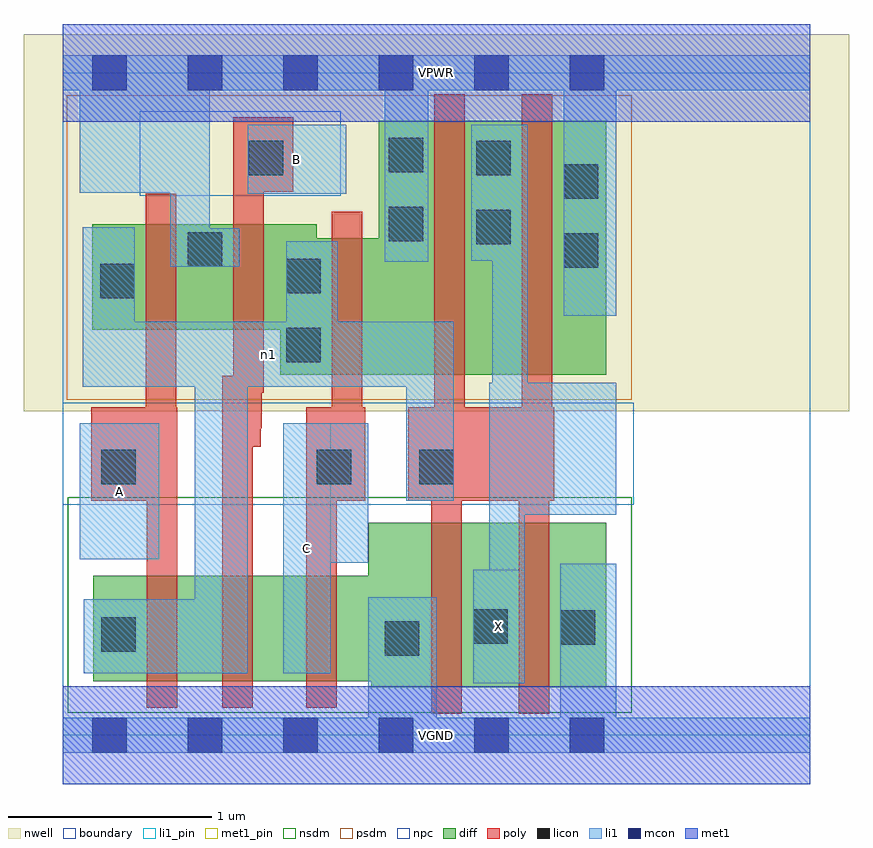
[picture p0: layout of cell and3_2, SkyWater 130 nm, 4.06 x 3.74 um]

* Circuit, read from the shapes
.subckt and3_2 A B C VGND VPWR X n1
XM1 n2 A n1 VSUBS sky130_fd_pr__nfet_01v8 w=0.52 l=0.15
XM2 n3 B n2 VSUBS sky130_fd_pr__nfet_01v8 w=0.52 l=0.15
XM3 VGND C n3 VSUBS sky130_fd_pr__nfet_01v8 w=0.52 l=0.15
XM4 X n1 VGND VSUBS sky130_fd_pr__nfet_01v8 w=0.81 l=0.15 m=2
XM5 VPWR A n1 n4 sky130_fd_pr__pfet_01v8 w=0.52 l=0.15
XM6 n1 B VPWR n4 sky130_fd_pr__pfet_01v8 w=0.52 l=0.15
XM7 VPWR C n1 n4 sky130_fd_pr__pfet_01v8 w=0.67 l=0.15
XM8 X n1 VPWR n4 sky130_fd_pr__pfet_01v8 w=1.25 l=0.15 m=2
.ends

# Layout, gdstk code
import gdstk
lib = gdstk.Library(unit=1e-6, precision=1e-09)
def R(c, l, rs):  # rectangles x0, y0, x1, y1
    for r in rs: c.add(gdstk.rectangle(r[:2], r[2:], *l))
def A(c, l, x, y, w, h, nx, ny, dx, dy):  # array of equal rectangles
    R(c, l, [(x+i*dx, y+j*dy, x+i*dx+w, y+j*dy+h) for i in range(nx) for j in range(ny)])
nwell = (64, 20)
diff = (65, 20)
poly = (66, 20)
licon = (66, 44)
li1_pin = (67, 16)
li1 = (67, 20)
mcon = (67, 44)
met1_pin = (68, 16)
met1 = (68, 20)
nsdm = (93, 44)
psdm = (94, 20)
npc = (95, 20)
boundary = (235, 4)

and3_2 = lib.new_cell('and3_2')
R(and3_2, nwell, [(-0.19,1.595,3.87,3.45), (0,1.595,3.68,3.45)])
R(and3_2, diff, [(1.52,0.235,2.675,1.045), (0.15,0.265,2.675,0.785), (1.505,0.265,2.675,1.045), (1.07,1.775,2.675,2.445), (1.555,1.775,2.675,3.025), (0.145,1.995,1.25,2.515)])
R(and3_2, poly, [(1.815,0.105,1.965,1.615), (2.245,0.105,2.395,1.615), (0.415,0.135,0.565,1.615), (0.785,0.135,0.935,1.77), (1.2,0.135,1.35,1.615), (0.14,1.155,0.565,1.615), (0.41,1.155,0.56,2.665), (1.2,1.155,1.49,1.615), (1.35,1.155,1.475,2.575), (1.7,1.155,2.42,1.615), (1.83,1.155,1.98,3.155), (2.26,1.155,2.41,3.155), (0.785,1.42,0.975,1.77), (0.84,1.51,0.98,3.04), (1.325,1.615,1.475,2.575), (0.84,1.685,0.99,3.04), (0.84,2.675,1.135,3.04)])
R(and3_2, licon, [(1.585,0.39,1.755,0.56), (0.19,0.41,0.36,0.58), (2.45,0.445,2.62,0.615), (2.02,0.45,2.19,0.62), (0.19,1.235,0.36,1.405), (1.25,1.235,1.42,1.405), (1.755,1.235,1.925,1.405), (1.1,1.835,1.27,2.005), (0.185,2.15,0.355,2.32), (1.1,2.175,1.27,2.345), (2.465,2.3,2.635,2.47), (0.615,2.305,0.785,2.475), (2.035,2.415,2.205,2.585), (1.605,2.43,1.775,2.6), (2.465,2.64,2.635,2.81), (0.915,2.755,1.085,2.925), (2.035,2.755,2.205,2.925), (1.605,2.77,1.775,2.94)])
R(and3_2, li1_pin, [(2.02,0.255,2.275,0.815), (1.085,0.305,1.32,1.535), (0.085,0.865,0.475,1.535), (0.91,2.665,1.395,3.005)])
R(and3_2, li1, [(0,-0.085,3.68,0.085), (1.505,-0.085,1.84,0.68), (2.45,-0.085,2.725,0.845), (2.02,0.255,2.275,0.815), (2.1,0.255,2.275,1.735), (0.105,0.305,0.91,0.67), (0.65,0.305,0.91,2.035), (1.085,0.305,1.32,1.535), (1.085,0.85,1.505,1.535), (0.085,0.865,0.475,1.535), (2.1,1.085,2.725,1.735), (2.115,1.085,2.29,3.005), (1.69,1.155,1.925,2.035), (0.1,1.715,1.925,2.035), (0.1,1.715,0.355,2.5), (1.1,1.715,1.355,2.43), (2.465,2.065,2.725,3.345), (0.53,2.305,0.725,3.345), (0.53,2.305,0.87,2.495), (1.585,2.33,1.8,3.345), (2.01,2.335,2.29,3.005), (0.91,2.665,1.395,3.005), (0.085,2.67,0.725,3.175), (0,3.175,3.68,3.345)])
A(and3_2, mcon, 0.145, -0.085, 0.17, 0.17, 6, 2, 0.47, 3.26)
R(and3_2, met1_pin, [(0,-0.24,3.68,0.24), (0,3.02,3.68,3.5)])
R(and3_2, met1, [(0,-0.24,3.68,0.24), (0,3.02,3.68,3.5)])
R(and3_2, nsdm, [(0.025,0.11,2.8,1.17)])
R(and3_2, psdm, [(0.02,1.65,2.8,3.15)])
R(and3_2, npc, [(0,1.135,2.81,1.635), (0.38,2.655,1.37,3.07)])
R(and3_2, boundary, [(0,0,3.68,3.26)])
and3_2.add(gdstk.Label('A', (0.28,1.2), layer=67, texttype=5))
and3_2.add(gdstk.Label('B', (1.152,2.835), layer=67, texttype=5))
and3_2.add(gdstk.Label('C', (1.202,0.92), layer=67, texttype=5))
and3_2.add(gdstk.Label('X', (2.147,0.535), layer=67, texttype=5))
and3_2.add(gdstk.Label('n1', (1.012,1.875), layer=67, texttype=5))
and3_2.add(gdstk.Label('VPWR', (1.84,3.26), layer=68, texttype=5))
and3_2.add(gdstk.Label('VGND', (1.84,0), layer=68, texttype=5))
and3_2.add(gdstk.Label('A', (0.28,1.2), layer=67, texttype=16))
and3_2.add(gdstk.Label('B', (1.152,2.835), layer=67, texttype=16))
and3_2.add(gdstk.Label('C', (1.202,0.92), layer=67, texttype=16))
and3_2.add(gdstk.Label('X', (2.147,0.535), layer=67, texttype=16))
and3_2.add(gdstk.Label('VPWR', (1.84,3.26), layer=68, texttype=16))
and3_2.add(gdstk.Label('VGND', (1.84,0), layer=68, texttype=16))

lib.write_gds('and3_2.gds')
